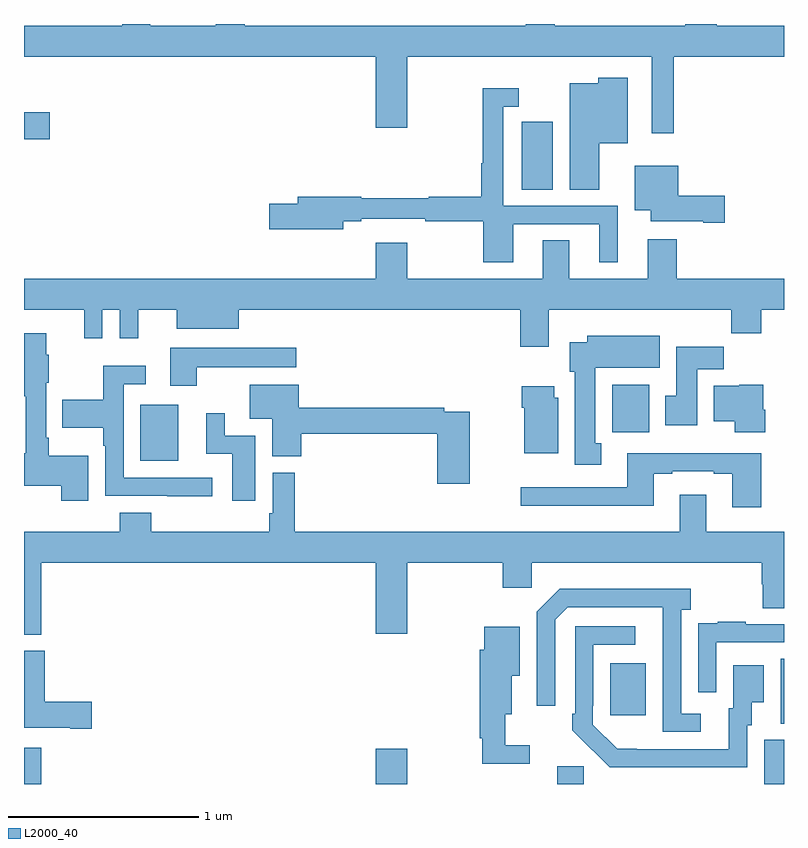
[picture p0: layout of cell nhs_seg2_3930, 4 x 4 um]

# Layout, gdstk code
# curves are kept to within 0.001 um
import gdstk
lib = gdstk.Library(unit=1e-6, precision=1e-09)
def R(c, l, rs):  # rectangles x0, y0, x1, y1
    for r in rs: c.add(gdstk.rectangle(r[:2], r[2:], *l))
def P(c, l, *ps):  # polygons
    for p in ps: c.add(gdstk.Polygon(p, *l))
L2000_40 = (2000, 40)

nhs_seg2_3930 = lib.new_cell('nhs_seg2_3930')
R(nhs_seg2_3930, L2000_40, [(319,651.8,319.091,651.991), (320.852,651.8,321.016,651.985), (321.806,651.8,321.945,651.894), (322.895,651.8,323,652.032), (322.982,652.117,323,652.46), (322.085,652.161,322.273,652.435), (319.613,653.501,319.813,653.797), (322.095,653.652,322.291,653.902), (321.62,654.928,321.784,655.285), (319,655.193,319.135,655.335)])
P(nhs_seg2_3930, L2000_40, [(322.421,655.628),(323,655.628),(323,655.792),(322.646,655.792),(322.646,655.8),(322.481,655.8),(322.481,655.792),(321.794,655.792),(321.794,655.8),(321.641,655.8),(321.641,655.792),(320.162,655.792),(320.162,655.8),(320.009,655.8),(320.009,655.792),(319.665,655.792),(319.665,655.8),(319.517,655.8),(319.517,655.792),(319,655.792),(319,655.628),(320.852,655.628),(320.852,655.254),(321.016,655.254),(321.016,655.628),(322.305,655.628),(322.305,655.224),(322.421,655.224)],
  [(322.027,655.172),(322.177,655.172),(322.177,655.516),(322.023,655.516),(322.023,655.489),(321.872,655.489),(321.872,654.928),(322.027,654.928)],
  [(321.574,654.747),(322.028,654.747),(322.028,654.546),(322.126,654.546),(322.126,654.843),(321.522,654.843),(321.522,655.365),(321.604,655.365),(321.604,655.462),(321.414,655.462),(321.414,655.067),(321.406,655.067),(321.406,654.89),(321.129,654.89),(321.129,654.883),(320.776,654.883),(320.776,654.89),(320.441,654.89),(320.441,654.854),(320.292,654.854),(320.292,654.719),(320.68,654.719),(320.68,654.762),(320.776,654.762),(320.776,654.774),(321.112,654.774),(321.112,654.762),(321.418,654.762),(321.418,654.546),(321.574,654.546)],
  [(322.687,654.896),(322.444,654.896),(322.444,655.054),(322.214,655.054),(322.214,654.821),(322.298,654.821),(322.298,654.761),(322.574,654.761),(322.574,654.754),(322.687,654.754)],
  [(321.763,654.296),(322.723,654.296),(322.723,654.172),(322.88,654.172),(322.88,654.296),(323,654.296),(323,654.46),(322.436,654.46),(322.436,654.667),(322.283,654.667),(322.283,654.46),(321.871,654.46),(321.871,654.662),(321.731,654.662),(321.731,654.46),(321.016,654.46),(321.016,654.649),(320.852,654.649),(320.852,654.46),(319,654.46),(319,654.296),(319.316,654.296),(319.316,654.147),(319.413,654.147),(319.413,654.296),(319.503,654.296),(319.503,654.147),(319.601,654.147),(319.601,654.296),(319.805,654.296),(319.805,654.197),(320.131,654.197),(320.131,654.296),(321.611,654.296),(321.611,654.102),(321.763,654.102)],
  [(319.339,653.527),(319.129,653.527),(319.129,653.623),(319.116,653.623),(319.116,653.911),(319.129,653.911),(319.129,654.059),(319.118,654.059),(319.118,654.172),(319,654.172),(319,653.841),(319.008,653.841),(319.008,653.54),(319,653.54),(319,653.369),(319.196,653.369),(319.196,653.292),(319.339,653.292)],
  [(322.039,653.593),(322.006,653.593),(322.006,653.99),(322.345,653.99),(322.345,654.16),(321.965,654.16),(321.965,654.124),(321.872,654.124),(321.872,653.97),(321.899,653.97),(321.899,653.481),(322.039,653.481)],
  [(322.543,653.984),(322.682,653.984),(322.682,654.102),(322.433,654.102),(322.433,653.844),(322.376,653.844),(322.376,653.688),(322.543,653.688)],
  [(319.909,653.993),(320.434,653.993),(320.434,654.097),(319.769,654.097),(319.769,653.895),(319.909,653.895)],
  [(319.99,653.412),(319.524,653.412),(319.524,653.904),(319.642,653.904),(319.642,654.001),(319.416,654.001),(319.416,653.823),(319.201,653.823),(319.201,653.675),(319.416,653.675),(319.416,653.579),(319.428,653.579),(319.428,653.316),(319.753,653.316),(319.753,653.315),(319.99,653.315)],
  [(321.346,653.76),(321.212,653.76),(321.212,653.78),(320.446,653.78),(320.446,653.902),(320.189,653.902),(320.189,653.723),(320.306,653.723),(320.306,653.526),(320.459,653.526),(320.459,653.644),(321.176,653.644),(321.176,653.379),(321.346,653.379)],
  [(322.9,653.769),(322.89,653.769),(322.89,653.902),(322.764,653.902),(322.764,653.896),(322.631,653.896),(322.631,653.708),(322.742,653.708),(322.742,653.651),(322.9,653.651)],
  [(321.811,653.832),(321.79,653.832),(321.79,653.893),(321.62,653.893),(321.62,653.78),(321.632,653.78),(321.632,653.54),(321.811,653.54)],
  [(320.218,653.634),(320.056,653.634),(320.056,653.752),(319.958,653.752),(319.958,653.538),(320.096,653.538),(320.096,653.292),(320.218,653.292)],
  [(322.88,653.542),(322.175,653.542),(322.175,653.361),(321.615,653.361),(321.615,653.264),(322.315,653.264),(322.315,653.433),(322.411,653.433),(322.411,653.445),(322.631,653.445),(322.631,653.433),(322.727,653.433),(322.727,653.256),(322.88,653.256)],
  [(322.451,653.323),(322.451,653.128),(320.426,653.128),(320.426,653.437),(320.31,653.437),(320.31,653.224),(320.29,653.224),(320.29,653.128),(319.67,653.128),(319.67,653.227),(319.505,653.227),(319.505,653.128),(319,653.128),(319,652.586),(319.091,652.586),(319.091,652.964),(320.852,652.964),(320.852,652.59),(321.016,652.59),(321.016,652.964),(321.521,652.964),(321.521,652.833),(321.672,652.833),(321.672,652.964),(322.883,652.964),(322.883,652.851),(322.888,652.851),(322.888,652.726),(323,652.726),(323,653.128),(322.591,653.128),(322.591,653.323)],
  [(322.561,652.17),(322.458,652.17),(322.458,652.718),(322.51,652.718),(322.51,652.828),(321.82,652.828),(321.699,652.707),(321.699,652.212),(321.795,652.212),(321.795,652.665),(321.861,652.731),(322.361,652.731),(322.362,652.074),(322.561,652.074)],
  [(322.644,652.545),(323,652.545),(323,652.641),(322.799,652.641),(322.799,652.654),(322.651,652.654),(322.651,652.647),(322.549,652.647),(322.549,652.538),(322.548,652.538),(322.548,652.284),(322.644,652.284)],
  [(322.806,652.11),(322.831,652.11),(322.831,652.229),(322.894,652.229),(322.894,652.426),(322.733,652.426),(322.733,652.2),(322.709,652.2),(322.709,651.984),(322.122,651.985),(321.993,652.113),(321.993,652.213),(321.996,652.213),(321.996,652.533),(322.216,652.533),(322.216,652.629),(321.9,652.629),(321.9,652.171),(321.885,652.171),(321.885,652.083),(322.082,651.888),(322.806,651.888)],
  [(321.661,652.003),(321.532,652.003),(321.532,652.166),(321.568,652.166),(321.568,652.37),(321.61,652.37),(321.61,652.627),(321.422,652.627),(321.422,652.506),(321.398,652.506),(321.398,652.04),(321.411,652.04),(321.411,651.906),(321.661,651.906)],
  [(319.357,652.232),(319.108,652.232),(319.108,652.501),(319,652.501),(319,652.097),(319.244,652.097),(319.244,652.09),(319.357,652.09)])

lib.write_gds('nhs_seg2_3930.gds')
